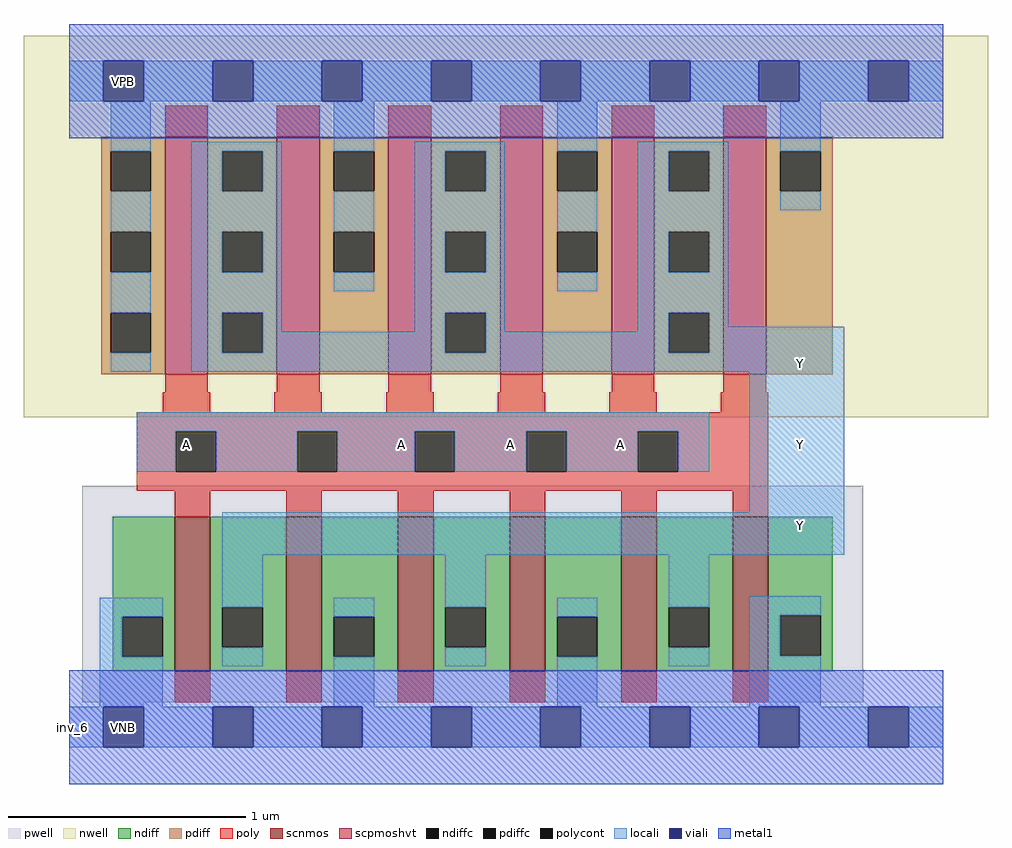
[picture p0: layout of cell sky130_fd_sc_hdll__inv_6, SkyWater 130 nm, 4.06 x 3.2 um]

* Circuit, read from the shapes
.subckt sky130_fd_sc_hdll__inv_6 A VGND VNB VPB VPWR Y
XM1 Y A VGND VNB sky130_fd_pr__nfet_01v8 w=0.65 l=0.15 m=6
XM2 Y A VPWR VPB sky130_fd_pr__pfet_01v8_hvt w=1 l=0.18 m=6
.ends

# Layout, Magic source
magic
tech sky130A
magscale 1 2
<< nwell >>
rect -38 261 774 582
<< pwell >>
rect 11 21 669 203
rect 29 -17 63 21
<< scnmos >>
rect 89 47 119 177
rect 183 47 213 177
rect 277 47 307 177
rect 371 47 401 177
rect 465 47 495 177
rect 559 47 589 177
<< scpmoshvt >>
rect 81 297 117 497
rect 175 297 211 497
rect 269 297 305 497
rect 363 297 399 497
rect 457 297 493 497
rect 551 297 587 497
<< ndiff >>
rect 37 93 89 177
rect 37 59 45 93
rect 79 59 89 93
rect 37 47 89 59
rect 119 101 183 177
rect 119 67 129 101
rect 163 67 183 101
rect 119 47 183 67
rect 213 93 277 177
rect 213 59 223 93
rect 257 59 277 93
rect 213 47 277 59
rect 307 101 371 177
rect 307 67 317 101
rect 351 67 371 101
rect 307 47 371 67
rect 401 93 465 177
rect 401 59 411 93
rect 445 59 465 93
rect 401 47 465 59
rect 495 101 559 177
rect 495 67 505 101
rect 539 67 559 101
rect 495 47 559 67
rect 589 94 643 177
rect 589 60 599 94
rect 633 60 643 94
rect 589 47 643 60
<< pdiff >>
rect 27 485 81 497
rect 27 451 35 485
rect 69 451 81 485
rect 27 417 81 451
rect 27 383 35 417
rect 69 383 81 417
rect 27 349 81 383
rect 27 315 35 349
rect 69 315 81 349
rect 27 297 81 315
rect 117 485 175 497
rect 117 451 129 485
rect 163 451 175 485
rect 117 417 175 451
rect 117 383 129 417
rect 163 383 175 417
rect 117 349 175 383
rect 117 315 129 349
rect 163 315 175 349
rect 117 297 175 315
rect 211 485 269 497
rect 211 451 223 485
rect 257 451 269 485
rect 211 417 269 451
rect 211 383 223 417
rect 257 383 269 417
rect 211 297 269 383
rect 305 485 363 497
rect 305 451 317 485
rect 351 451 363 485
rect 305 417 363 451
rect 305 383 317 417
rect 351 383 363 417
rect 305 349 363 383
rect 305 315 317 349
rect 351 315 363 349
rect 305 297 363 315
rect 399 485 457 497
rect 399 451 411 485
rect 445 451 457 485
rect 399 417 457 451
rect 399 383 411 417
rect 445 383 457 417
rect 399 297 457 383
rect 493 485 551 497
rect 493 451 505 485
rect 539 451 551 485
rect 493 417 551 451
rect 493 383 505 417
rect 539 383 551 417
rect 493 349 551 383
rect 493 315 505 349
rect 539 315 551 349
rect 493 297 551 315
rect 587 485 643 497
rect 587 451 599 485
rect 633 451 643 485
rect 587 297 643 451
<< ndiffc >>
rect 45 59 79 93
rect 129 67 163 101
rect 223 59 257 93
rect 317 67 351 101
rect 411 59 445 93
rect 505 67 539 101
rect 599 60 633 94
<< pdiffc >>
rect 35 451 69 485
rect 35 383 69 417
rect 35 315 69 349
rect 129 451 163 485
rect 129 383 163 417
rect 129 315 163 349
rect 223 451 257 485
rect 223 383 257 417
rect 317 451 351 485
rect 317 383 351 417
rect 317 315 351 349
rect 411 451 445 485
rect 411 383 445 417
rect 505 451 539 485
rect 505 383 539 417
rect 505 315 539 349
rect 599 451 633 485
<< poly >>
rect 81 497 117 523
rect 175 497 211 523
rect 269 497 305 523
rect 363 497 399 523
rect 457 497 493 523
rect 551 497 587 523
rect 81 282 117 297
rect 175 282 211 297
rect 269 282 305 297
rect 363 282 399 297
rect 457 282 493 297
rect 551 282 587 297
rect 79 265 119 282
rect 173 265 213 282
rect 267 265 307 282
rect 361 265 401 282
rect 455 265 495 282
rect 549 265 589 282
rect 57 249 589 265
rect 57 215 90 249
rect 124 215 192 249
rect 226 215 291 249
rect 325 215 385 249
rect 419 215 479 249
rect 513 215 589 249
rect 57 199 589 215
rect 89 177 119 199
rect 183 177 213 199
rect 277 177 307 199
rect 371 177 401 199
rect 465 177 495 199
rect 559 177 589 199
rect 89 21 119 47
rect 183 21 213 47
rect 277 21 307 47
rect 371 21 401 47
rect 465 21 495 47
rect 559 21 589 47
<< polycont >>
rect 90 215 124 249
rect 192 215 226 249
rect 291 215 325 249
rect 385 215 419 249
rect 479 215 513 249
<< locali >>
rect 0 527 29 561
rect 63 527 121 561
rect 155 527 213 561
rect 247 527 305 561
rect 339 527 397 561
rect 431 527 489 561
rect 523 527 581 561
rect 615 527 673 561
rect 707 527 736 561
rect 35 485 69 527
rect 35 417 69 451
rect 35 349 69 383
rect 35 299 69 315
rect 103 485 179 493
rect 103 451 129 485
rect 163 451 179 485
rect 103 417 179 451
rect 103 383 129 417
rect 163 383 179 417
rect 103 349 179 383
rect 223 485 257 527
rect 223 417 257 451
rect 223 367 257 383
rect 291 485 367 493
rect 291 451 317 485
rect 351 451 367 485
rect 291 417 367 451
rect 291 383 317 417
rect 351 383 367 417
rect 103 315 129 349
rect 163 333 179 349
rect 291 349 367 383
rect 411 485 445 527
rect 411 417 445 451
rect 411 367 445 383
rect 479 485 555 493
rect 479 451 505 485
rect 539 451 555 485
rect 479 417 555 451
rect 599 485 633 527
rect 599 435 633 451
rect 479 383 505 417
rect 539 383 555 417
rect 291 333 317 349
rect 163 315 317 333
rect 351 333 367 349
rect 479 349 555 383
rect 479 333 505 349
rect 351 315 505 333
rect 539 337 555 349
rect 539 315 653 337
rect 103 299 653 315
rect 57 249 539 265
rect 57 215 90 249
rect 124 215 192 249
rect 226 215 291 249
rect 325 215 385 249
rect 419 215 479 249
rect 513 215 539 249
rect 573 181 653 299
rect 129 145 653 181
rect 26 93 79 109
rect 26 59 45 93
rect 26 17 79 59
rect 129 101 163 145
rect 129 51 163 67
rect 223 93 257 109
rect 223 17 257 59
rect 317 101 351 145
rect 317 51 351 67
rect 411 93 445 109
rect 411 17 445 59
rect 505 101 539 145
rect 505 51 539 67
rect 573 94 633 110
rect 573 60 599 94
rect 573 17 633 60
rect 0 -17 29 17
rect 63 -17 121 17
rect 155 -17 213 17
rect 247 -17 305 17
rect 339 -17 397 17
rect 431 -17 489 17
rect 523 -17 581 17
rect 615 -17 673 17
rect 707 -17 736 17
<< viali >>
rect 29 527 63 561
rect 121 527 155 561
rect 213 527 247 561
rect 305 527 339 561
rect 397 527 431 561
rect 489 527 523 561
rect 581 527 615 561
rect 673 527 707 561
rect 29 -17 63 17
rect 121 -17 155 17
rect 213 -17 247 17
rect 305 -17 339 17
rect 397 -17 431 17
rect 489 -17 523 17
rect 581 -17 615 17
rect 673 -17 707 17
<< metal1 >>
rect 0 561 736 592
rect 0 527 29 561
rect 63 527 121 561
rect 155 527 213 561
rect 247 527 305 561
rect 339 527 397 561
rect 431 527 489 561
rect 523 527 581 561
rect 615 527 673 561
rect 707 527 736 561
rect 0 496 736 527
rect 0 17 736 48
rect 0 -17 29 17
rect 63 -17 121 17
rect 155 -17 213 17
rect 247 -17 305 17
rect 339 -17 397 17
rect 431 -17 489 17
rect 523 -17 581 17
rect 615 -17 673 17
rect 707 -17 736 17
rect 0 -48 736 -17
<< labels >>
flabel locali s 599 153 633 187 0 FreeSans 340 0 0 0 Y
port 6 nsew signal output
flabel locali s 599 221 633 255 0 FreeSans 340 0 0 0 Y
port 6 nsew signal output
flabel locali s 599 289 633 323 0 FreeSans 340 0 0 0 Y
port 6 nsew signal output
flabel locali s 82 221 116 255 0 FreeSans 340 0 0 0 A
port 1 nsew signal input
flabel locali s 280 238 280 238 0 FreeSans 340 0 0 0 A
port 1 nsew
flabel locali s 372 238 372 238 0 FreeSans 340 0 0 0 A
port 1 nsew
flabel locali s 464 238 464 238 0 FreeSans 340 0 0 0 A
port 1 nsew
flabel nwell s 29 527 63 561 0 FreeSans 200 0 0 0 VPB
port 4 nsew power bidirectional
flabel pwell s 29 -17 63 17 0 FreeSans 200 0 0 0 VNB
port 3 nsew ground bidirectional
flabel metal1 s 29 527 63 561 0 FreeSans 200 0 0 0 VPWR
port 5 nsew power bidirectional
flabel metal1 s 29 -17 63 17 0 FreeSans 200 0 0 0 VGND
port 2 nsew ground bidirectional
rlabel comment s 3 0 3 0 4 inv_6
<< properties >>
string LEFsite unithd
string LEFclass CORE
string FIXED_BBOX 0 0 736 544
string GDS_FILE $PDKPATH/libs.ref/sky130_fd_sc_hdll/gds/sky130_fd_sc_hdll.gds
string LEFsymmetry X Y R90
string GDS_END 2135642
string GDS_START 2129276
string LEFproperties maskLayoutSubType "abstract" prCellType "standard" originalViewName "layout"
<< end >>
